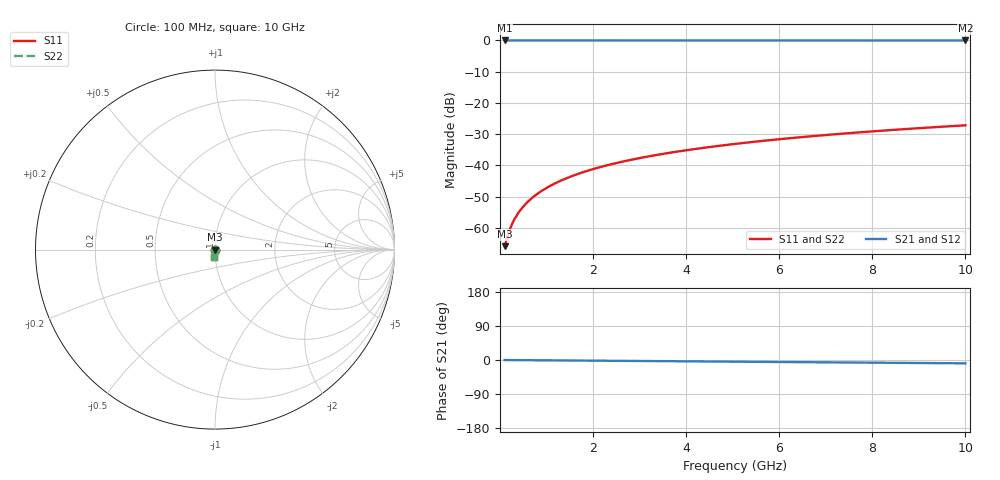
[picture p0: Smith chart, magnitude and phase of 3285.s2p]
# Hz S RI R 50.00
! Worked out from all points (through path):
!   100 points, 100 MHz to 10 GHz, reference 50 ohm
!   highest |S21| = 0.00 dB at 100 MHz (marker M1); lowest = 0.0 dB at 10 GHz (marker M2)
!   group delay of S21, straight-line fit = 2.45 ps
!   lowest |S11| = -65.9 dB at 100 MHz (marker M3), VSWR 1.00, Z = 50 - j0.0436 ohm
!   |S11| at or under -10 dB: start of sweep to end of sweep
!   |S22| runs from -65.9 to -27.2 dB; largest |S21 - S12| = 0
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1e8  0.000265 -0.000436  0.9997 -0.00153  0.9997 -0.00153  0.000265 -0.000436
2e8  0.000264 -0.000871  0.9997 -0.00305  0.9997 -0.00305  0.000264 -0.000871
3e8  0.000261 -0.00131  0.9997 -0.00458  0.9997 -0.00458  0.000261 -0.00131
4e8  0.000256 -0.00174  0.9997 -0.0061  0.9997 -0.0061  0.000256 -0.00174
5e8  0.00025 -0.00218  0.9997 -0.00763  0.9997 -0.00763  0.00025 -0.00218
6e8  0.000243 -0.00261  0.9997 -0.00916  0.9997 -0.00916  0.000243 -0.00261
7e8  0.000234 -0.00305  0.9997 -0.0107  0.9997 -0.0107  0.000234 -0.00305
8e8  0.000224 -0.00349  0.9996 -0.0122  0.9996 -0.0122  0.000224 -0.00349
9e8  0.000212 -0.00392  0.9996 -0.0137  0.9996 -0.0137  0.000212 -0.00392
1.1e9  0.000185 -0.00479  0.9996 -0.0168  0.9996 -0.0168  0.000185 -0.00479
1.4e9  0.000134 -0.0061  0.9995 -0.0214  0.9995 -0.0214  0.000134 -0.0061
1.8e9  4.67e-05 -0.00785  0.9993 -0.0275  0.9993 -0.0275  4.67e-05 -0.00785
2.1e9  -3.27e-05 -0.00916  0.9991 -0.0321  0.9991 -0.0321  -3.27e-05 -0.00916
2.5e9  -0.000158 -0.0109  0.9989 -0.0382  0.9989 -0.0382  -0.000158 -0.0109
2.9e9  -0.000304 -0.0126  0.9986 -0.0443  0.9986 -0.0443  -0.000304 -0.0126
3.4e9  -0.000517 -0.0148  0.9982 -0.0519  0.9982 -0.0519  -0.000517 -0.0148
4.2e9  -0.000929 -0.0183  0.9974 -0.0642  0.9974 -0.0642  -0.000929 -0.0183
5.1e9  -0.0015 -0.0222  0.9964 -0.078  0.9964 -0.078  -0.0015 -0.0222
5.9e9  -0.00209 -0.0257  0.9952 -0.0902  0.9952 -0.0902  -0.00209 -0.0257
6.7e9  -0.00277 -0.0292  0.9939 -0.1025  0.9939 -0.1025  -0.00277 -0.0292
8.4e9  -0.00451 -0.0365  0.9906 -0.1285  0.9906 -0.1285  -0.00451 -0.0365
1e10  -0.0065 -0.0433  0.9868 -0.153  0.9868 -0.153  -0.0065 -0.0433
